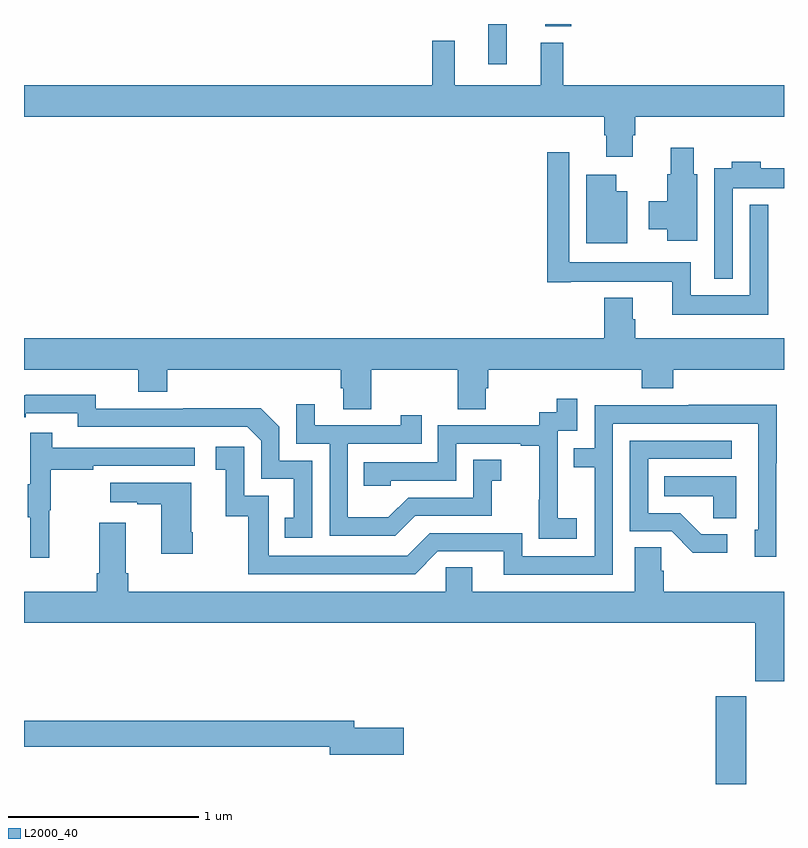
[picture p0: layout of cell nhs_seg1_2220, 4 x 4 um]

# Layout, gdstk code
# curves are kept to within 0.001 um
import gdstk
lib = gdstk.Library(unit=1e-6, precision=1e-09)
def R(c, l, rs):  # rectangles x0, y0, x1, y1
    for r in rs: c.add(gdstk.rectangle(r[:2], r[2:], *l))
def P(c, l, *ps):  # polygons
    for p in ps: c.add(gdstk.Polygon(p, *l))
L2000_40 = (2000, 40)

nhs_seg1_2220 = lib.new_cell('nhs_seg1_2220')
R(nhs_seg1_2220, L2000_40, [(234.641,568.199,234.801,568.66), (233.444,571.986,233.541,572.199), (233.744,572.186,233.879,572.199)])
P(nhs_seg1_2220, L2000_40, [(234.205,571.614),(234.218,571.614),(234.218,571.712),(235,571.712),(235,571.876),(233.837,571.876),(233.837,572.101),(233.72,572.101),(233.72,571.876),(233.267,571.876),(233.267,572.11),(233.149,572.11),(233.149,571.876),(231,571.876),(231,571.712),(234.053,571.712),(234.053,571.614),(234.065,571.614),(234.065,571.5),(234.205,571.5)],
  [(234.544,571.407),(234.526,571.407),(234.526,571.549),(234.404,571.549),(234.404,571.407),(234.386,571.407),(234.386,571.266),(234.287,571.266),(234.287,571.118),(234.386,571.118),(234.386,571.059),(234.544,571.059)],
  [(234.916,571.249),(234.819,571.249),(234.819,570.772),(234.51,570.772),(234.51,570.946),(233.871,570.946),(233.871,571.525),(233.755,571.525),(233.755,570.84),(233.878,570.84),(233.878,570.842),(234.413,570.842),(234.413,570.668),(234.916,570.668)],
  [(234.729,571.334),(235,571.334),(235,571.441),(234.878,571.441),(234.878,571.474),(234.725,571.474),(234.725,571.441),(234.633,571.441),(234.633,570.857),(234.729,570.857)],
  [(234.175,571.318),(234.118,571.318),(234.118,571.405),(233.96,571.405),(233.96,571.046),(234.175,571.046)],
  [(232.827,570.38),(233.284,570.38),(233.284,570.172),(233.431,570.172),(233.431,570.282),(233.444,570.282),(233.444,570.38),(234.251,570.38),(234.251,570.281),(234.416,570.281),(234.416,570.38),(235,570.38),(235,570.544),(234.218,570.544),(234.218,570.645),(234.205,570.645),(234.205,570.757),(234.053,570.757),(234.053,570.544),(231,570.544),(231,570.38),(231.602,570.38),(231.602,570.263),(231.755,570.263),(231.755,570.38),(232.667,570.38),(232.667,570.282),(232.679,570.282),(232.679,570.172),(232.827,570.172)],
  [(232.518,569.901),(232.344,569.901),(232.344,570.078),(232.246,570.176),(231.838,570.176),(231.838,570.174),(231.378,570.174),(231.378,570.247),(231,570.246),(231,570.13),(231.01,570.13),(231.01,570.15),(231.282,570.15),(231.282,570.078),(232.176,570.078),(232.248,570.006),(232.248,569.805),(232.421,569.805),(232.421,569.601),(232.372,569.601),(232.372,569.496),(232.518,569.496)],
  [(233.908,569.599),(233.81,569.599),(233.81,569.828),(233.808,569.828),(233.808,570.057),(233.913,570.057),(233.913,570.226),(233.805,570.226),(233.805,570.156),(233.712,570.156),(233.712,570.087),(233.178,570.087),(233.178,569.892),(232.789,569.892),(232.789,569.769),(232.929,569.769),(232.929,569.796),(233.274,569.796),(233.274,569.991),(233.615,569.991),(233.615,569.979),(233.711,569.979),(233.711,569.695),(233.71,569.695),(233.71,569.489),(233.908,569.489)],
  [(233.059,569.61),(233.463,569.61),(233.463,569.795),(233.512,569.795),(233.512,569.905),(233.364,569.905),(233.364,569.706),(233.022,569.706),(232.918,569.602),(232.704,569.602),(232.704,569.991),(233.093,569.991),(233.093,570.139),(232.982,570.139),(232.982,570.087),(232.531,570.087),(232.531,570.199),(232.434,570.199),(232.434,569.991),(232.608,569.991),(232.608,569.505),(232.954,569.505)],
  [(234.099,570.096),(234.864,570.096),(234.864,569.538),(234.845,569.538),(234.845,569.394),(234.96,569.394),(234.96,569.887),(234.963,569.887),(234.963,570.194),(234.499,570.194),(234.499,570.192),(234.003,570.192),(234.003,569.967),(233.893,569.967),(233.893,569.866),(234.003,569.866),(234.003,569.397),(233.622,569.397),(233.622,569.52),(233.136,569.52),(233.016,569.4),(232.287,569.4),(232.287,569.715),(232.158,569.715),(232.158,569.974),(232.008,569.974),(232.008,569.853),(232.061,569.853),(232.061,569.607),(232.179,569.607),(232.179,569.304),(233.058,569.304),(233.178,569.424),(233.525,569.424),(233.525,569.301),(234.099,569.301)],
  [(231.134,569.64),(231.142,569.64),(231.142,569.854),(231.365,569.854),(231.365,569.874),(231.898,569.874),(231.898,569.97),(231.149,569.97),(231.149,570.049),(231.032,570.049),(231.032,569.777),(231.021,569.777),(231.021,569.603),(231.032,569.603),(231.032,569.391),(231.134,569.391)],
  [(234.7,569.514),(234.565,569.514),(234.454,569.625),(234.285,569.625),(234.285,569.91),(234.724,569.91),(234.724,570.006),(234.189,570.006),(234.189,569.529),(234.408,569.529),(234.521,569.417),(234.7,569.417)],
  [(234.748,569.818),(234.37,569.818),(234.37,569.714),(234.627,569.714),(234.627,569.599),(234.748,569.599)],
  [(231.888,569.524),(231.88,569.524),(231.88,569.785),(231.453,569.785),(231.453,569.681),(231.596,569.681),(231.596,569.671),(231.722,569.671),(231.722,569.412),(231.888,569.412)],
  [(234.848,568.739),(235,568.739),(235,569.212),(234.368,569.212),(234.368,569.321),(234.354,569.321),(234.354,569.444),(234.215,569.444),(234.215,569.212),(233.359,569.212),(233.359,569.339),(233.22,569.339),(233.22,569.212),(231.548,569.212),(231.548,569.308),(231.535,569.308),(231.535,569.575),(231.395,569.575),(231.395,569.308),(231.383,569.308),(231.383,569.212),(231,569.212),(231,569.048),(234.848,569.048)],
  [(232.999,568.496),(232.738,568.496),(232.738,568.532),(231,568.532),(231,568.396),(232.61,568.396),(232.61,568.354),(232.999,568.354)])

lib.write_gds('nhs_seg1_2220.gds')
